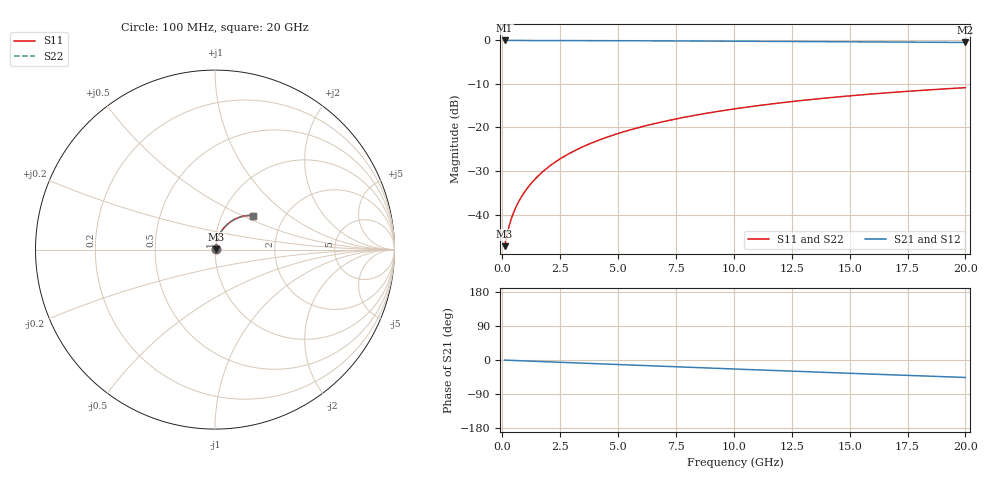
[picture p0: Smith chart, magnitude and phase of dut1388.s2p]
! Touchstone file exported from HFSS 2026.1.0
!  File:  C:/ffzhzh/LocalFiles/Ansys_Project_Files/temp_train_BSMRDL_1388_1783179659_18472.aedt
!  Generated:  11:42:09 PM Jul  4, 2026
!  Design:  BSMRDL
!  Project:  temp_train_BSMRDL_1388_1783179659_18472
! Variables:
!  h_bsmrdl = 2.61um
!  h_ox = 20um
!  h_rdl = 5um
!  h_sub = 80um
!  h_tmrdl = 5um
!  h_tsv = 80um
!  h_via = 3um
!  l_bsmrdl = 738.7um
!  l_sub = 1138.7um
!  l_tmrdl = 200um
!  m_sub = 200um
!  pitch = 44.8um
!  r_tsv = 6um
!  s_tmrdl = 10um
!  w_bsmrdl = 29.26um
!  w_sub = 500um
!  w_tmrdl = 12um
!  x_tsv_center1 = 206um
!  x_tsv_center2 = 973.96um
!  x_tsv_center3 = 1185.96um
!  x_tsv_center4 = 1953.92um
!  x_tsv_center5 = 2165.92um
!  x_tsv_center6 = 2933.88um
# GHz S MA R 50.000000
! Terminal data exported
! Port[1] = BSM_RDL1_1_T1
! Port[2] = BSM_RDL1_1_T2
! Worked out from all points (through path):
!   200 points, 100 MHz to 20 GHz, reference 50 ohm
!   highest |S21| = -0.03 dB at 100 MHz (marker M1); lowest = -0.5 dB at 20 GHz (marker M2)
!   group delay of S21, straight-line fit = 6.4 ps
!   lowest |S11| = -47.3 dB at 100 MHz (marker M3), VSWR 1.01, Z = 50.4 + j0.215 ohm
!   |S11| at or under -10 dB: start of sweep to end of sweep
!   |S22| runs from -47.3 to -10.9 dB; largest |S21 - S12| = 2.1e-15
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0.1  0.00434 29.5  0.9962 -0.3  0.9962 -0.3  0.00434 29.5
! Gamma 0 0 0 0
! Port Impedance 50 0 50 0
0.2  0.005805 45.8  0.996 -0.5  0.996 -0.5  0.005805 45.8
0.3  0.007466 54.1  0.9957 -0.8  0.9957 -0.8  0.007466 54.1
0.4  0.009126 58.9  0.9954 -1.0  0.9954 -1.0  0.009126 58.9
0.5  0.01075 62.2  0.9952 -1.3  0.9952 -1.3  0.01075 62.2
0.6  0.01236 64.7  0.995 -1.5  0.995 -1.5  0.01236 64.7
0.8  0.01555 68.4  0.9947 -2.0  0.9947 -2.0  0.01555 68.4
1.1  0.02039 71.8  0.9944 -2.7  0.9944 -2.7  0.02039 71.8
1.3  0.02366 73.2  0.9942 -3.2  0.9942 -3.2  0.02366 73.2
1.6  0.02861 74.7  0.994 -3.9  0.994 -3.9  0.02861 74.7
2.1  0.03694 75.8  0.9935 -5.1  0.9935 -5.1  0.03694 75.8
2.7  0.047 76.1  0.9929 -6.5  0.9929 -6.5  0.047 76.1
3.5  0.06039 75.6  0.9919 -8.4  0.9919 -8.4  0.06039 75.6
4.2  0.07203 74.7  0.9909 -10.1  0.9909 -10.1  0.07204 74.7
5  0.08522 73.4  0.9895 -12.0  0.9895 -12.0  0.08522 73.4
5.9  0.09984 71.7  0.9878 -14.2  0.9878 -14.2  0.09984 71.7
6.8  0.1142 69.9  0.9858 -16.3  0.9858 -16.3  0.1142 69.9
8.3  0.1375 66.7  0.9821 -19.8  0.9821 -19.8  0.1375 66.7
10.1  0.1644 62.8  0.9771 -24.0  0.9771 -24.0  0.1644 62.8
13.4  0.21 55.6  0.9669 -31.5  0.9669 -31.5  0.21 55.6
16.7  0.2507 48.5  0.9561 -38.9  0.9561 -38.9  0.2507 48.5
20  0.2862 41.5  0.9453 -46.1  0.9453 -46.1  0.2862 41.5
